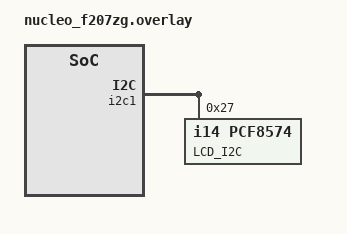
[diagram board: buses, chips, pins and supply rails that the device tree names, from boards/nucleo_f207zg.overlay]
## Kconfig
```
mainmenu "i14 Configuration"

comment "i14 Specific configuration Options"

rsource "../../Kconfig.i14"
	
config PCF8574
	default y


source "Kconfig.zephyr"
```

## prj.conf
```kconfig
CONFIG_STDOUT_CONSOLE=y
CONFIG_PRINTK=y
CONFIG_HEAP_MEM_POOL_SIZE=256
CONFIG_ASSERT=n
CONFIG_GPIO=y
CONFIG_I2C=y
CONFIG_SPI=y
CONFIG_LOG=y
```

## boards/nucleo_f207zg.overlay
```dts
&i2c1 {
	status="okay";
	lcd: lcd@27 {
		compatible = "i14,pcf8574";
		label = "LCD_I2C";
		reg = <0x27>;
	};
};
```

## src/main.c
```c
#include <zephyr.h>
#include <kernel.h>
#include <logging/log.h>
#include <sys/printk.h>
#include "../../../drivers/display/pcf8574/pcf8574.h"
#include "ihm/lcdi2c.h"
#include <stdio.h>

LOG_MODULE_REGISTER(main);

lcdi2c *Lcd;

void main(void){
	int contador = 0;
	char buffer[16] = {'\0'};
	Lcd = lcdi2cCreate();

	Lcd->init();
	k_sleep(K_MSEC(2));
	Lcd->clear();
	Lcd->print("LCD I2C PCF8574");
	k_sleep(K_MSEC(5000));

	Lcd->clear();
	k_sleep(K_MSEC(1000));

	Lcd->line(LINHA_1);
	Lcd->print("Linha 1:");
	Lcd->line(LINHA_2);
	Lcd->print("Linha 2:");

	k_sleep(K_MSEC(2000));

	for (;;){
		contador++;
		Lcd->clear();
		sprintf(buffer,"%d", contador);
		Lcd->line(LINHA_1);
		Lcd->print(buffer);

		sprintf(buffer,"%d", contador*contador);
		Lcd->line(LINHA_2);
		Lcd->print(buffer);

		k_sleep(K_MSEC(1000));

	}
}
```
